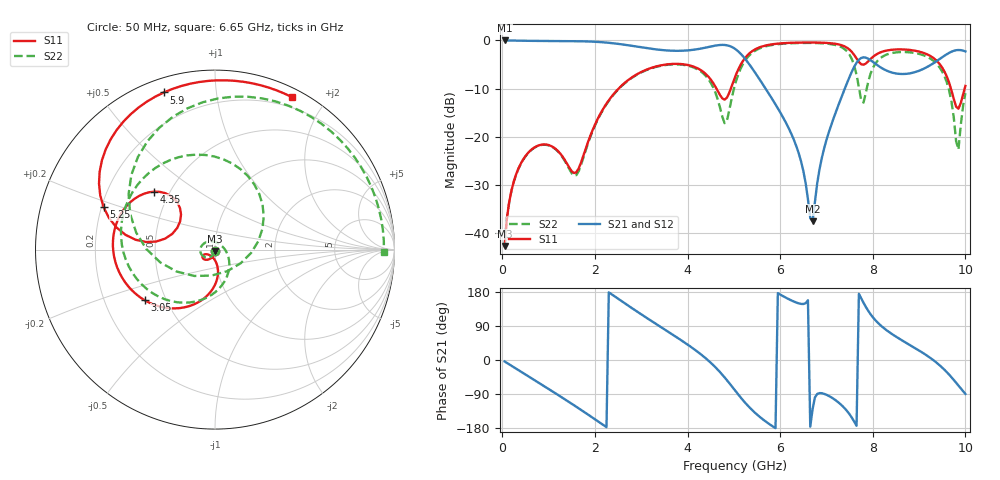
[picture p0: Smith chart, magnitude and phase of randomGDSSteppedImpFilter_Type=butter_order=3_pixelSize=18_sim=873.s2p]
! freq	dB(S11)	phase(S11)	dB(S12)	phase(S12)
!  dB(S21)	phase(S21)	dB(S22)	phase(S22)
!S-par simulation data
#  GHz  S  DB  R 50
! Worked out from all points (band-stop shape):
!   200 points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, 50 MHz to 10 GHz, reference 50 ohm
!   highest |S21| = -0.01 dB at 50 MHz (marker M1); lowest = -37.6 dB at 6.7 GHz (marker M2)
!   |S21| within 3 dB of the highest: start of sweep to 5.17 GHz; 9.576 GHz to end of sweep
!   lowest |S11| = -42.7 dB at 50 MHz (marker M3), VSWR 1.01, Z = 50 - j0.73 ohm
!   |S11| at or under -10 dB: start of sweep to 2.512 GHz; 4.624 GHz to 4.935 GHz (311 MHz wide, 6.51 % of centre); 9.687 GHz to 9.985 GHz (297.7 MHz wide, 3.03 % of centre)
!   |S22| runs from -42.8 to -0.5 dB; largest |S21 - S12| = 0
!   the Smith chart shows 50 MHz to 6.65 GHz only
!   S11 on the Smith chart (normalised r, x): 50 MHz: 1.00, -0.01; 3.05 GHz: 0.38, -0.28; 4.35 GHz: 0.41, +0.34; 5.25 GHz: 0.21, +0.18; 5.9 GHz: 0.06, +0.72; 6.65 GHz: 0.09, +1.62
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0.05  -42.74 -88.6  -0.01 -3.9  -0.01 -3.9  -42.75 -90.2
0.2  -31.10 -101.6  -0.03 -15.4  -0.03 -15.4  -31.14 -106.8
0.55  -23.44 -124.5  -0.08 -42.1  -0.08 -42.1  -23.49 -139.8
1.15  -22.52 -154.2  -0.13 -88.0  -0.13 -88.0  -22.61 157.8
1.75  -23.97 -88.1  -0.19 -135.7  -0.19 -135.7  -24.37 -6.6
2.35  -11.80 -99.2  -0.54 174.3  -0.54 174.3  -11.90 -94.6
3.05  -6.33 -144.1  -1.50 116.5  -1.50 116.5  -6.42 -164.2
3.4  -5.23 -166.4  -1.95 88.8  -1.95 88.8  -5.32 163.4
4.35  -6.61 136.2  -1.58 8.9  -1.58 8.9  -6.95 65.9
4.8  -12.30 150.1  -0.94 -45.8  -0.94 -45.8  -17.19 -60.3
5.05  -7.03 173.0  -1.92 -84.1  -1.92 -84.1  -8.36 179.6
5.25  -3.56 159.2  -3.90 -113.6  -3.90 -113.6  -4.09 138.2
5.9  -0.72 108.0  -13.30 -179.8  -13.30 -179.8  -0.85 58.4
6.65  -0.43 63.2  -36.91 -176.1  -36.91 -176.1  -0.52 -0.9
6.7  -0.43 60.4  -37.59 -129.9  -37.59 -129.9  -0.53 -4.6
7.35  -1.08 20.2  -11.15 -122.0  -11.15 -122.0  -1.54 -66.6
7.65  -3.76 2.8  -4.63 -173.6  -4.63 -173.6  -7.17 -138.2
7.9  -4.36 15.2  -3.80 130.1  -3.80 130.1  -8.66 47.6
8.35  -2.02 -4.0  -6.48 73.9  -6.48 73.9  -2.78 -29.9
9.45  -4.98 -70.5  -3.82 -14.5  -3.82 -14.5  -5.70 -112.7
9.85  -14.18 -42.4  -1.99 -67.5  -1.99 -67.5  -22.66 -58.7
10  -9.46 -14.3  -2.29 -89.6  -2.29 -89.6  -10.96 -24.9
